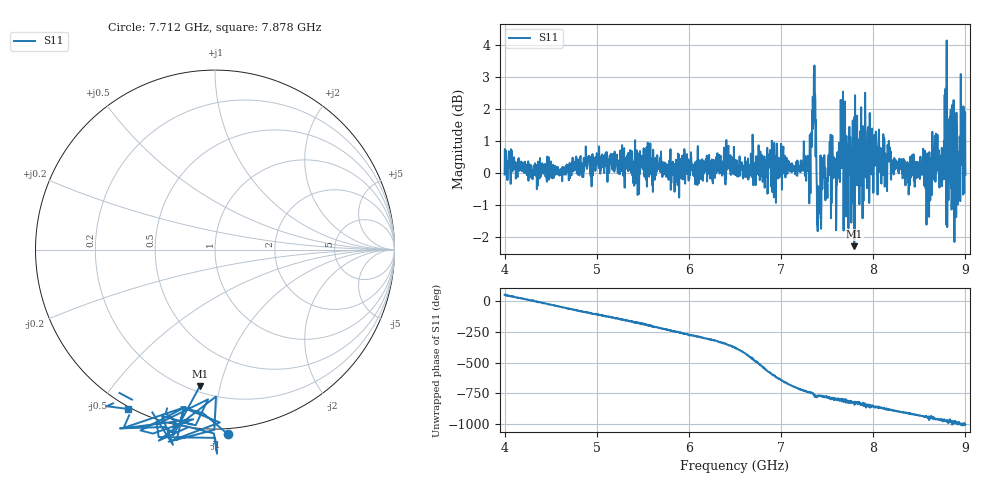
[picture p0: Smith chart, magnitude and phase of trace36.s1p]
! Created with skrf 1.8.0 (http://scikit-rf.org).
# Hz S RI R 50.0
!freq ReS11 ImS11
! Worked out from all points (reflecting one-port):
!   1601 points, 4 GHz to 9 GHz, reference 50 ohm
!   lowest |S11| = -2.3 dB at 7.794 GHz (marker M1), VSWR 7.60, Z = 11.7 - j43.3 ohm
!   phase of S11 starts at 51 deg and turns -1054 deg over the sweep
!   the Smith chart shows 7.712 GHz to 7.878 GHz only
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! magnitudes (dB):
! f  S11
! 4 GHz  -0.1
! 4.625 GHz  -0.3
! 5.25 GHz  0.0
! 5.875 GHz  0.2
! 6.5 GHz  0.2
! 7.125 GHz  0.2
! 7.294 GHz  0.1
! 7.347 GHz  1.5
! 7.362 GHz  3.4
! 7.412 GHz  -0.4
! 7.453 GHz  -0.2
! 7.619 GHz  0.5
! 7.65 GHz  1.0
! 7.669 GHz  1.6
! 7.703 GHz  -1.4
! 7.75 GHz  1.1
! 7.794 GHz  -2.3
! 7.822 GHz  -0.4
! 8.038 GHz  0.7
! 8.375 GHz  0.1
! 8.534 GHz  0.1
! 8.612 GHz  -0.4
! 8.666 GHz  0.3
! 8.741 GHz  -0.3
! 8.788 GHz  0.1
! 8.869 GHz  -0.3
! 8.972 GHz  0.3
! 9 GHz  -0.1
